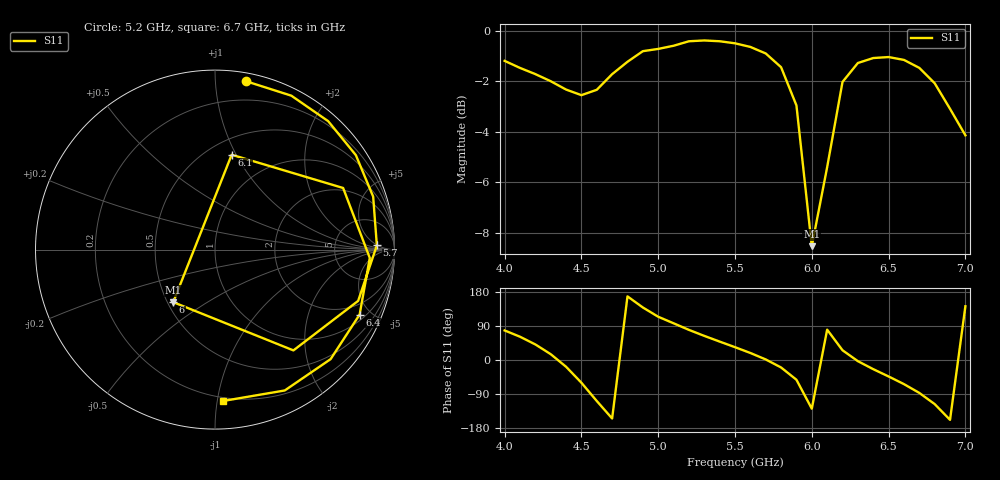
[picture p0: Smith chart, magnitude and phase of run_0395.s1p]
! Touchstone file exported from HFSS 2024.2.0
!  File:  C:/Users/wsak9/Desktop/Sim Fast/Widenad Patch/WP_AI_V1_sweep.aedt
!  Generated:  07:58:38 AM Oct 14, 2026
!  Design:  A1_model
!  Project:  WP_AI_V1_sweep
!  Setup:  Setup1
!  Solution:  Sweep
! Variables:
!  Air_gap = 3mm
!  Curve_Amp1 = 2.9
!  Curve_len1 = 1
!  Curve_pos = 9.815mm
!  Extra = 6.27mm
!  H_sub = 0.79mm
!  L_Patch = 15.63mm
!  L_Patch1 = 22.59mm
!  Sx = 2.49mm
!  Sy = 1.67mm
!  WS = 0.47mm
!  W_Patch = 10.09mm
!  W_Patch1 = 16.32mm
!Data is not renormalized
# GHz S MA
! Terminal data exported
! Port[1] = 1
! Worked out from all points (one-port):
!   31 points, 4 GHz to 7 GHz, reference per port
!   lowest |S11| = -8.5 dB at 6 GHz (marker M1), VSWR 2.20
!   |S11| at or under -10 dB: nowhere
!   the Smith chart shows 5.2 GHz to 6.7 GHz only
!   S11 on the Smith chart (normalised r, x): 5.2 GHz: 0.06, +1.20; 5.7 GHz: 18, +5; 6 GHz: 0.54, -0.36; 6.1 GHz: 0.65, +0.96; 6.4 GHz: 1.30, -4.29; 6.7 GHz: 0.18, -1.04
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4  0.8721 78.0
4.1  0.8444 61.5
4.2  0.8209 41.1
4.3  0.7947 15.4
4.4  0.765 -17.8
4.5  0.7456 -60.0
4.6  0.7641 -108.2
4.7  0.8206 -154.3
4.8  0.8684 167.9
4.9  0.9115 138.6
5  0.921 114.1
5.2  0.9537 79.5
5.3  0.9572 63.6
5.5  0.9449 33.8
5.7  0.902 1.5
5.8  0.8471 -19.7
5.9  0.7115 -52.1
6  0.3741 -128.5
6.1  0.5366 80.0
6.2  0.7921 25.7
6.3  0.8636 -3.1
6.4  0.8834 -24.2
6.5  0.8873 -43.5
6.6  0.8758 -63.7
6.7  0.8445 -86.9
6.8  0.7874 -116.3
6.9  0.7004 -157.9
7  0.6206 141.8
